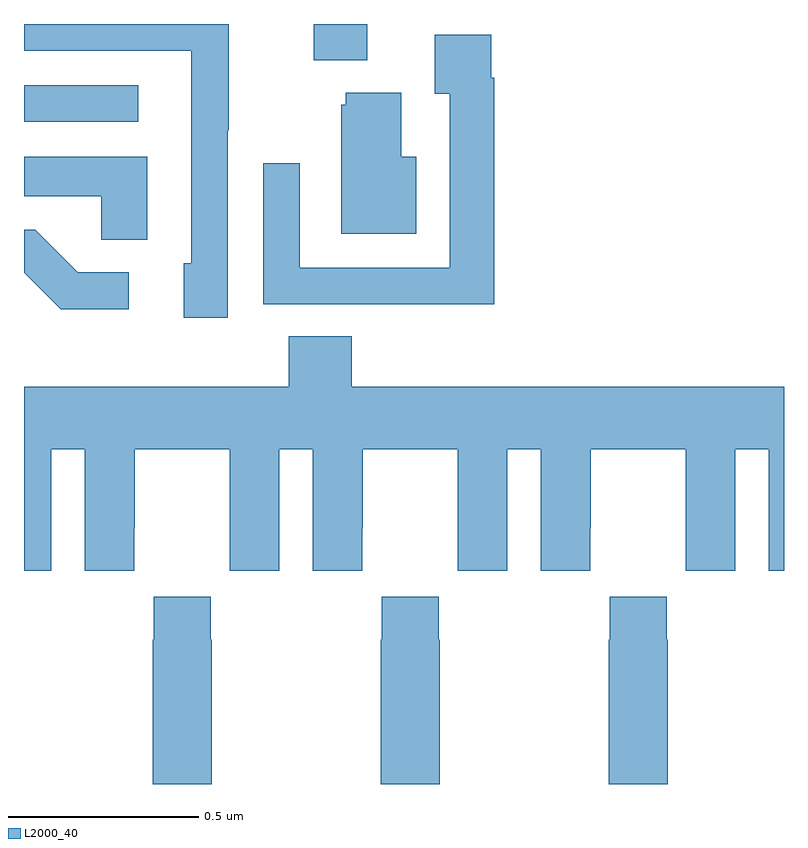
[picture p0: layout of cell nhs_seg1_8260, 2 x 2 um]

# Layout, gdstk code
import gdstk
lib = gdstk.Library(unit=1e-6, precision=1e-09)
def R(c, l, rs):  # rectangles x0, y0, x1, y1
    for r in rs: c.add(gdstk.rectangle(r[:2], r[2:], *l))
def P(c, l, *ps):  # polygons
    for p in ps: c.add(gdstk.Polygon(p, *l))
L2000_40 = (2000, 40)

nhs_seg1_8260 = lib.new_cell('nhs_seg1_8260')
R(nhs_seg1_8260, L2000_40, [(214,537.942,214.3,538.038), (214.763,538.103,214.903,538.199)])
P(nhs_seg1_8260, L2000_40, [(214.536,537.919),(214.539,537.919),(214.539,538.199),(214,538.199),(214,538.128),(214.44,538.128),(214.44,537.57),(214.421,537.57),(214.421,537.426),(214.536,537.426)],
  [(215.237,538.058),(215.23,538.058),(215.23,538.171),(215.081,538.171),(215.081,538.015),(215.121,538.015),(215.121,537.558),(214.725,537.558),(214.725,537.832),(214.629,537.832),(214.629,537.462),(214.945,537.462),(214.945,537.461),(215.237,537.461)],
  [(215.032,537.85),(214.993,537.85),(214.993,538.018),(214.847,538.018),(214.847,537.987),(214.835,537.987),(214.835,537.647),(215.032,537.647)],
  [(214.324,537.85),(214,537.85),(214,537.746),(214.203,537.746),(214.203,537.631),(214.324,537.631)],
  [(214.276,537.546),(214.141,537.546),(214.03,537.657),(214,537.657),(214,537.545),(214.097,537.449),(214.276,537.449)],
  [(214.072,537.08),(214.16,537.08),(214.16,536.76),(214.29,536.76),(214.29,536.872),(214.291,536.872),(214.291,537.08),(214.541,537.08),(214.541,536.872),(214.542,536.872),(214.542,536.76),(214.672,536.76),(214.672,537.08),(214.76,537.08),(214.76,536.76),(214.89,536.76),(214.89,536.872),(214.891,536.872),(214.891,537.08),(215.141,537.08),(215.141,536.872),(215.142,536.872),(215.142,536.76),(215.272,536.76),(215.272,537.08),(215.36,537.08),(215.36,536.76),(215.49,536.76),(215.49,536.872),(215.491,536.872),(215.491,537.08),(215.741,537.08),(215.741,536.872),(215.742,536.872),(215.742,536.76),(215.872,536.76),(215.872,537.08),(215.96,537.08),(215.96,536.76),(216,536.76),(216,537.244),(214.862,537.244),(214.862,537.377),(214.697,537.377),(214.697,537.244),(214,537.244),(214,536.76),(214.072,536.76)],
  [(215.694,536.579),(215.691,536.579),(215.691,536.692),(215.541,536.692),(215.541,536.579),(215.539,536.579),(215.539,536.199),(215.694,536.199)],
  [(215.094,536.579),(215.091,536.579),(215.091,536.692),(214.941,536.692),(214.941,536.579),(214.939,536.579),(214.939,536.199),(215.094,536.199)],
  [(214.494,536.579),(214.491,536.579),(214.491,536.692),(214.341,536.692),(214.341,536.579),(214.339,536.579),(214.339,536.199),(214.494,536.199)])

lib.write_gds('nhs_seg1_8260.gds')
